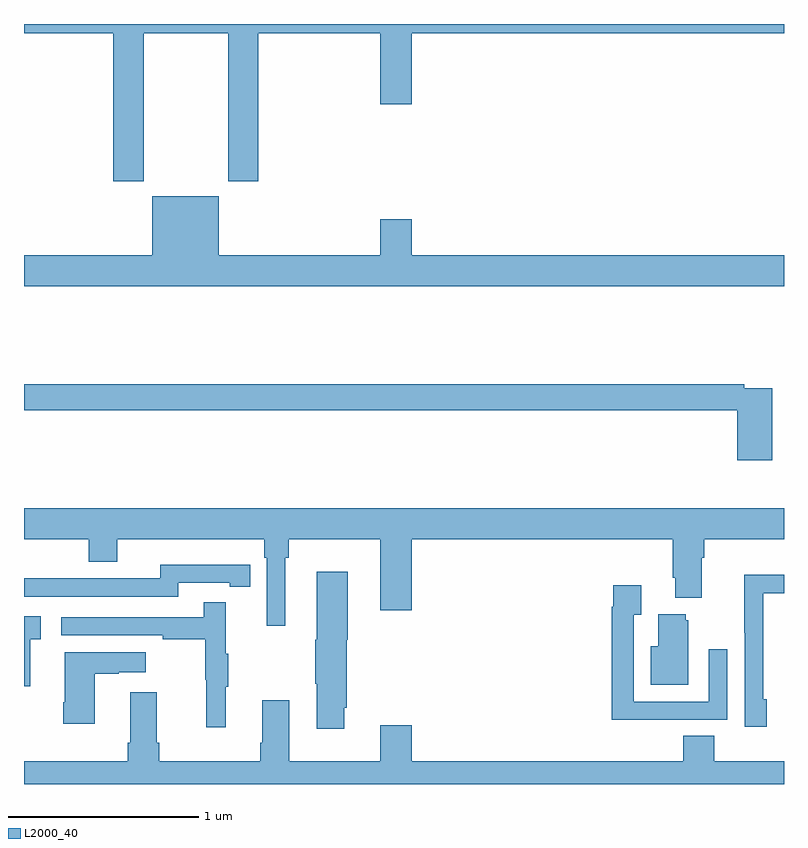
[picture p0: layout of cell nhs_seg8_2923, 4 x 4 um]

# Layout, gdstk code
import gdstk
lib = gdstk.Library(unit=1e-6, precision=1e-09)
def P(c, l, *ps):  # polygons
    for p in ps: c.add(gdstk.Polygon(p, *l))
L2000_40 = (2000, 40)

nhs_seg8_2923 = lib.new_cell('nhs_seg8_2923')
P(nhs_seg8_2923, L2000_40, [(295.629,1097.852),(296.074,1097.852),(296.074,1097.073),(296.234,1097.073),(296.234,1097.852),(296.876,1097.852),(296.876,1097.478),(297.04,1097.478),(297.04,1097.852),(299,1097.852),(299,1097.9),(295,1097.9),(295,1097.852),(295.469,1097.852),(295.469,1097.073),(295.629,1097.073)],
  [(299,1096.684),(297.04,1096.684),(297.04,1096.873),(296.876,1096.873),(296.876,1096.684),(296.026,1096.684),(296.026,1096.993),(295.676,1096.993),(295.676,1096.684),(295,1096.684),(295,1096.52),(299,1096.52)],
  [(298.937,1095.984),(298.79,1095.984),(298.79,1096.004),(295,1096.004),(295,1095.868),(298.754,1095.868),(298.754,1095.603),(298.937,1095.603)],
  [(296.374,1095.092),(296.393,1095.092),(296.393,1095.188),(296.876,1095.188),(296.876,1094.814),(297.04,1094.814),(297.04,1095.188),(298.415,1095.188),(298.415,1094.986),(298.427,1094.986),(298.427,1094.879),(298.567,1094.879),(298.567,1095.092),(298.58,1095.092),(298.58,1095.188),(299,1095.188),(299,1095.352),(295,1095.352),(295,1095.188),(295.34,1095.188),(295.34,1095.071),(295.492,1095.071),(295.492,1095.188),(296.264,1095.188),(296.264,1095.092),(296.277,1095.092),(296.277,1094.733),(296.374,1094.733)],
  [(295.812,1094.958),(296.084,1094.958),(296.084,1094.938),(296.192,1094.938),(296.192,1095.054),(296.084,1095.054),(296.084,1095.055),(295.716,1095.055),(295.716,1094.982),(295.256,1094.982),(295.256,1094.984),(295,1094.984),(295,1094.886),(295.812,1094.886)],
  [(296.686,1094.302),(296.699,1094.302),(296.699,1094.658),(296.704,1094.658),(296.704,1095.016),(296.54,1095.016),(296.54,1094.658),(296.533,1094.658),(296.533,1094.428),(296.54,1094.428),(296.54,1094.19),(296.686,1094.19)],
  [(298.909,1094.346),(298.89,1094.346),(298.89,1094.904),(299,1094.904),(299,1095.002),(298.792,1095.002),(298.792,1094.695),(298.794,1094.695),(298.794,1094.202),(298.909,1094.202)],
  [(298.385,1094.238),(298.701,1094.238),(298.701,1094.608),(298.605,1094.608),(298.605,1094.334),(298.209,1094.334),(298.209,1094.791),(298.249,1094.791),(298.249,1094.947),(298.101,1094.947),(298.101,1094.834),(298.093,1094.834),(298.093,1094.237),(298.385,1094.237)],
  [(296.063,1094.411),(296.074,1094.411),(296.074,1094.585),(296.063,1094.585),(296.063,1094.857),(295.945,1094.857),(295.945,1094.778),(295.197,1094.778),(295.197,1094.682),(295.729,1094.682),(295.729,1094.662),(295.953,1094.662),(295.953,1094.448),(295.96,1094.448),(295.96,1094.199),(296.063,1094.199)],
  [(298.495,1094.763),(298.484,1094.763),(298.484,1094.794),(298.337,1094.794),(298.337,1094.626),(298.298,1094.626),(298.298,1094.423),(298.495,1094.423)],
  [(295.034,1094.661),(295.087,1094.661),(295.087,1094.782),(295,1094.782),(295,1094.415),(295.034,1094.415)],
  [(295.372,1094.479),(295.499,1094.479),(295.499,1094.489),(295.642,1094.489),(295.642,1094.593),(295.214,1094.593),(295.214,1094.329),(295.207,1094.329),(295.207,1094.217),(295.372,1094.217)],
  [(299,1094.02),(298.634,1094.02),(298.634,1094.153),(298.469,1094.153),(298.469,1094.02),(297.04,1094.02),(297.04,1094.209),(296.876,1094.209),(296.876,1094.02),(296.395,1094.02),(296.395,1094.341),(296.255,1094.341),(296.255,1094.116),(296.243,1094.116),(296.243,1094.02),(295.712,1094.02),(295.712,1094.116),(295.699,1094.116),(295.699,1094.383),(295.559,1094.383),(295.559,1094.116),(295.547,1094.116),(295.547,1094.02),(295,1094.02),(295,1093.9),(299,1093.9)])

lib.write_gds('nhs_seg8_2923.gds')
